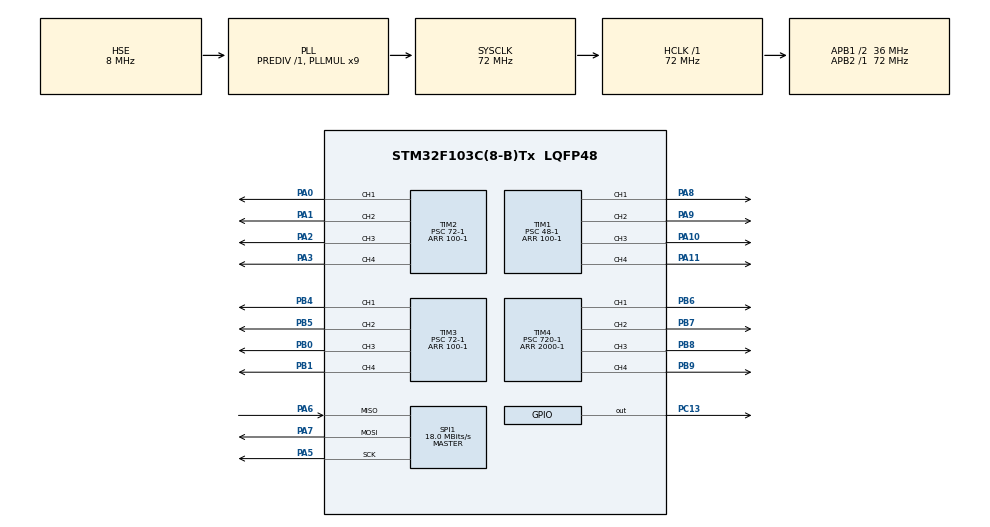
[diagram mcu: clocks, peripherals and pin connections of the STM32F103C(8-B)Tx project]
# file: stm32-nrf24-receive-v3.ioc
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FREERTOS.Tasks01=defaultTask,24,128,StartDefaultTask,Default,NULL,Dynamic,NULL,NULL;nrf24Task,8,128,StartNrf24Task,Default,NULL,Dynamic,NULL,NULL
Mcu.Family=STM32F1
Mcu.Name=STM32F103C(8-B)Tx
Mcu.Package=LQFP48
NVIC.PriorityGroup=NVIC_PRIORITYGROUP_4
PA0-WKUP.Signal=S_TIM2_CH1_ETR
PA1.Signal=S_TIM2_CH2
PA10.Signal=S_TIM1_CH3
PA11.Signal=S_TIM1_CH4
PA13.Mode=Serial_Wire
PA13.Signal=SYS_JTMS-SWDIO
PA14.Mode=Serial_Wire
PA14.Signal=SYS_JTCK-SWCLK
PA2.Signal=S_TIM2_CH3
PA3.Signal=S_TIM2_CH4
PA5.Mode=Full_Duplex_Master
PA5.Signal=SPI1_SCK
PA6.Mode=Full_Duplex_Master
PA6.Signal=SPI1_MISO
PA7.Mode=Full_Duplex_Master
PA7.Signal=SPI1_MOSI
PA8.Signal=S_TIM1_CH1
PA9.Signal=S_TIM1_CH2
PB0.Signal=S_TIM3_CH3
PB1.Signal=S_TIM3_CH4
PB4.Signal=S_TIM3_CH1
PB5.Signal=S_TIM3_CH2
PB6.Signal=S_TIM4_CH1
PB7.Signal=S_TIM4_CH2
PB8.Signal=S_TIM4_CH3
PB9.Signal=S_TIM4_CH4
PC13-TAMPER-RTC.Signal=GPIO_Output
PD0-OSC_IN.Mode=HSE-External-Oscillator
PD0-OSC_IN.Signal=RCC_OSC_IN
PD1-OSC_OUT.Mode=HSE-External-Oscillator
PD1-OSC_OUT.Signal=RCC_OSC_OUT
ProjectManager.HeapSize=0x200
ProjectManager.StackSize=0x400
ProjectManager.TargetToolchain=CMake
RCC.AHBFreq_Value=72000000
RCC.APB1CLKDivider=RCC_HCLK_DIV2
RCC.APB1Freq_Value=36000000
RCC.APB1TimFreq_Value=72000000
RCC.APB2Freq_Value=72000000
RCC.APB2TimFreq_Value=72000000
RCC.HCLKFreq_Value=72000000
RCC.PLLMUL=RCC_PLL_MUL9
RCC.PLLSourceVirtual=RCC_PLLSOURCE_HSE
RCC.SYSCLKFreq_VALUE=72000000
RCC.SYSCLKSource=RCC_SYSCLKSOURCE_PLLCLK
RCC.USBFreq_Value=72000000
SH.S_TIM1_CH1.0=TIM1_CH1,PWM Generation1 CH1
SH.S_TIM1_CH2.0=TIM1_CH2,PWM Generation2 CH2
SH.S_TIM1_CH3.0=TIM1_CH3,PWM Generation3 CH3
SH.S_TIM1_CH4.0=TIM1_CH4,PWM Generation4 CH4
SH.S_TIM2_CH1_ETR.0=TIM2_CH1,PWM Generation1 CH1
SH.S_TIM2_CH2.0=TIM2_CH2,PWM Generation2 CH2
SH.S_TIM2_CH3.0=TIM2_CH3,PWM Generation3 CH3
SH.S_TIM2_CH4.0=TIM2_CH4,PWM Generation4 CH4
SH.S_TIM3_CH1.0=TIM3_CH1,PWM Generation1 CH1
SH.S_TIM3_CH2.0=TIM3_CH2,PWM Generation2 CH2
SH.S_TIM3_CH3.0=TIM3_CH3,PWM Generation3 CH3
SH.S_TIM3_CH4.0=TIM3_CH4,PWM Generation4 CH4
SH.S_TIM4_CH1.0=TIM4_CH1,PWM Generation1 CH1
SH.S_TIM4_CH2.0=TIM4_CH2,PWM Generation2 CH2
SH.S_TIM4_CH3.0=TIM4_CH3,PWM Generation3 CH3
SH.S_TIM4_CH4.0=TIM4_CH4,PWM Generation4 CH4
SPI1.BaudRatePrescaler=SPI_BAUDRATEPRESCALER_4
SPI1.CalculateBaudRate=18.0 MBits/s
SPI1.Direction=SPI_DIRECTION_2LINES
SPI1.Mode=SPI_MODE_MASTER
SPI1.VirtualType=VM_MASTER
TIM1.Channel-PWM\ Generation1\ CH1=TIM_CHANNEL_1
TIM1.Channel-PWM\ Generation2\ CH2=TIM_CHANNEL_2
TIM1.Channel-PWM\ Generation3\ CH3=TIM_CHANNEL_3
TIM1.Channel-PWM\ Generation4\ CH4=TIM_CHANNEL_4
TIM1.Period=100-1
TIM1.Prescaler=48-1
TIM2.Channel-PWM\ Generation1\ CH1=TIM_CHANNEL_1
TIM2.Channel-PWM\ Generation2\ CH2=TIM_CHANNEL_2
TIM2.Channel-PWM\ Generation3\ CH3=TIM_CHANNEL_3
TIM2.Channel-PWM\ Generation4\ CH4=TIM_CHANNEL_4
TIM2.Period=100-1
TIM2.Prescaler=72-1
TIM3.Channel-PWM\ Generation1\ CH1=TIM_CHANNEL_1
TIM3.Channel-PWM\ Generation2\ CH2=TIM_CHANNEL_2
TIM3.Channel-PWM\ Generation3\ CH3=TIM_CHANNEL_3
TIM3.Channel-PWM\ Generation4\ CH4=TIM_CHANNEL_4
TIM3.Period=100-1
TIM3.Prescaler=72-1
TIM4.Channel-PWM\ Generation1\ CH1=TIM_CHANNEL_1
TIM4.Channel-PWM\ Generation2\ CH2=TIM_CHANNEL_2
TIM4.Channel-PWM\ Generation3\ CH3=TIM_CHANNEL_3
TIM4.Channel-PWM\ Generation4\ CH4=TIM_CHANNEL_4
TIM4.Period=2000-1
TIM4.Prescaler=720-1
VP_FREERTOS_VS_CMSIS_V2.Mode=CMSIS_V2
board=custom

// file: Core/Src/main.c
/* USER CODE BEGIN Header */
/**
  ******************************************************************************
  * @file           : main.c
  * @brief          : Main program body
  ******************************************************************************
  * @attention
  *
  * Copyright (c) 2025 STMicroelectronics.
  * All rights reserved.
  *
  * This software is licensed under terms that can be found in the LICENSE file
  * in the root directory of this software component.
  * If no LICENSE file comes with this software, it is provided AS-IS.
  *
  ******************************************************************************
  */
/* USER CODE END Header */
#include "main.h"
#include "cmsis_os.h"
#include "spi.h"
#include "tim.h"
#include "gpio.h"

void SystemClock_Config(void);
void MX_FREERTOS_Init(void);

int main(void)
{

  /* MCU Configuration--------------------------------------------------------*/

  /* Reset of all peripherals, Initializes the Flash interface and the Systick. */
    HAL_Init();

  /* USER CODE BEGIN Init */

  /* USER CODE END Init *

  /* Configure the system clock */
  SystemClock_Config();

  /* Initialize all configured peripherals */
  MX_GPIO_Init();
  MX_SPI1_Init();
  MX_TIM1_Init();
  MX_TIM2_Init();
  MX_TIM3_Init();
  MX_TIM4_Init();

  /* Init scheduler */
  osKernelInitialize();

  /* Call init function for freertos objects (in cmsis_os2.c) */
  MX_FREERTOS_Init();

  /* Start scheduler */
  osKernelStart();

  /* We should never get here as control is now taken by the scheduler */

  /* Infinite loop */
  while (1)
  {

  }
}

void SystemClock_Config(void)
{
  RCC_OscInitTypeDef RCC_OscInitStruct = {0};
  RCC_ClkInitTypeDef RCC_ClkInitStruct = {0};

  /** Initializes the RCC Oscillators according to the specified parameters
  * in the RCC_OscInitTypeDef structure.
  */
  RCC_OscInitStruct.OscillatorType = RCC_OSCILLATORTYPE_HSE;
  RCC_OscInitStruct.HSEState = RCC_HSE_ON;
  RCC_OscInitStruct.HSEPredivValue = RCC_HSE_PREDIV_DIV1;
  RCC_OscInitStruct.HSIState = RCC_HSI_ON;
  RCC_OscInitStruct.PLL.PLLState = RCC_PLL_ON;
  RCC_OscInitStruct.PLL.PLLSource = RCC_PLLSOURCE_HSE;
  RCC_OscInitStruct.PLL.PLLMUL = RCC_PLL_MUL9;
  if (HAL_RCC_OscConfig(&RCC_OscInitStruct) != HAL_OK)
  {
    Error_Handler();
  }

  /** Initializes the CPU, AHB and APB buses clocks
  */
  RCC_ClkInitStruct.ClockType = RCC_CLOCKTYPE_HCLK|RCC_CLOCKTYPE_SYSCLK
                              |RCC_CLOCKTYPE_PCLK1|RCC_CLOCKTYPE_PCLK2;
  RCC_ClkInitStruct.SYSCLKSource = RCC_SYSCLKSOURCE_PLLCLK;
  RCC_ClkInitStruct.AHBCLKDivider = RCC_SYSCLK_DIV1;
  RCC_ClkInitStruct.APB1CLKDivider = RCC_HCLK_DIV2;
  RCC_ClkInitStruct.APB2CLKDivider = RCC_HCLK_DIV1;

  if (HAL_RCC_ClockConfig(&RCC_ClkInitStruct, FLASH_LATENCY_2) != HAL_OK)
  {
    Error_Handler();
  }
}

void Error_Handler(void)
{
  __disable_irq();
  while (1)
  {
  }
}

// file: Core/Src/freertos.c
/* USER CODE BEGIN Header */
/**
 ******************************************************************************
 * File Name          : freertos.c
 * Description        : Code for freertos applications
 ******************************************************************************
 * @attention
 *
 * Copyright (c) 2025 STMicroelectronics.
 * All rights reserved.
 *
 * This software is licensed under terms that can be found in the LICENSE file
 * in the root directory of this software component.
 * If no LICENSE file comes with this software, it is provided AS-IS.
 *
 ******************************************************************************
 */
/* USER CODE END Header */

#include "FreeRTOS.h"
#include "cmsis_os.h"
#include "main.h"
#include "task.h"

/* USER CODE BEGIN Includes */

#include "nrf24.h"
#include "spi.h"
#include "stm32f1xx.h"
#include "tim.h"
#include <stdint.h>

/* USER CODE END Includes */

/* USER CODE BEGIN PM */
uint16_t mapVal(uint16_t sourceMin, uint16_t sourceMax, uint16_t targetMin,
                uint16_t targetMax, uint16_t value) {
  uint16_t mappedValue = targetMin + (value - sourceMin) *
                                         (targetMax - targetMin) /
                                         (sourceMax - sourceMin);
  return mappedValue;
}

/* USER CODE END PM */

/* Definitions for defaultTask */
osThreadId_t defaultTaskHandle;
const osThreadAttr_t defaultTask_attributes = {
    .name = "defaultTask",
    .stack_size = 128 * 4,
    .priority = (osPriority_t)osPriorityNormal,
};
/* Definitions for nrf24Task */
osThreadId_t nrf24TaskHandle;
const osThreadAttr_t nrf24Task_attributes = {
    .name = "nrf24Task",
    .stack_size = 128 * 4,
    .priority = (osPriority_t)osPriorityLow,
};

void StartDefaultTask(void *argument);
void StartNrf24Task(void *argument);

void MX_FREERTOS_Init(void); /* (MISRA C 2004 rule 8.1) */

void MX_FREERTOS_Init(void) {
  /* USER CODE BEGIN Init */

  // 电机舵机pwm初始化
  HAL_TIM_PWM_Start(&htim1, TIM_CHANNEL_1);
  HAL_TIM_PWM_Start(&htim1, TIM_CHANNEL_2);
  HAL_TIM_PWM_Start(&htim1, TIM_CHANNEL_3);
  HAL_TIM_PWM_Start(&htim1, TIM_CHANNEL_4);

  HAL_TIM_PWM_Start(&htim2, TIM_CHANNEL_1);
  HAL_TIM_PWM_Start(&htim2, TIM_CHANNEL_2);
  HAL_TIM_PWM_Start(&htim2, TIM_CHANNEL_3);
  HAL_TIM_PWM_Start(&htim2, TIM_CHANNEL_4);

  HAL_TIM_PWM_Start(&htim3, TIM_CHANNEL_1);
  HAL_TIM_PWM_Start(&htim3, TIM_CHANNEL_2);
  HAL_TIM_PWM_Start(&htim3, TIM_CHANNEL_3);
  HAL_TIM_PWM_Start(&htim3, TIM_CHANNEL_4);

  HAL_TIM_PWM_Start(&htim4, TIM_CHANNEL_1);
  HAL_TIM_PWM_Start(&htim4, TIM_CHANNEL_2);
  HAL_TIM_PWM_Start(&htim4, TIM_CHANNEL_3);
  HAL_TIM_PWM_Start(&htim4, TIM_CHANNEL_4);

  /* USER CODE END Init */

  /* Create the thread(s) */
  /* creation of defaultTask */
  defaultTaskHandle =
      osThreadNew(StartDefaultTask, NULL, &defaultTask_attributes);

  /* creation of nrf24Task */
  nrf24TaskHandle = osThreadNew(StartNrf24Task, NULL, &nrf24Task_attributes);

}

void StartDefaultTask(void *argument) {
  /* USER CODE BEGIN StartDefaultTask */
  /* Infinite loop */
  (void)argument;
  // int pwmValue = 0;
  for (;;) {
    osDelay(100);
    // HAL_GPIO_TogglePin(GPIOC, GPIO_PIN_13);
    // __HAL_TIM_SET_COMPARE(&htim1, TIM_CHANNEL_3, 0);
    // __HAL_TIM_SET_COMPARE(&htim1, TIM_CHANNEL_4, pwmValue);
    // pwmValue += 1;
    // if(pwmValue > 100) pwmValue = 0;
  }
  /* USER CODE END StartDefaultTask */
}

void StartNrf24Task(void *argument) {
  /* USER CODE BEGIN StartNrf24Task */
  /* Infinite loop */
  (void)argument;
  // NRF24初始化
  NRF24_Init(&hspi1);
  // 检测NRF24L01是否存在
  if (NRF24_Check() != 1) {
    // 未检测到NRF24L01，可以在这里添加错误处理
    while (1)
      ;
  }
  // 设置为接收模式
  NRF24_SetRxMode(nrf24_addr);
  /**
x轴 舵机值 范围 50-150 对应 90度范围 ； 接收侧pwm分辨率2000
y轴上 范围0-100； 接收侧收到数据x10，因为pwm分辨率是1000
y轴下 范围0-100； 接收侧收到数据x10，因为pwm分辨率是1000
*/
  uint8_t rx_data[10];
  uint8_t rx_len = 0;

  HAL_GPIO_WritePin(GPIOC, GPIO_PIN_13, SET);

  uint8_t carType = 2; // 0-翻斗车 1-装载机 2-挖掘机

  uint32_t linking_timestamp = 0;
  for (;;) {
    rx_len = NRF24_ReceiveData(rx_data, 10);
    if (rx_len > 0) {
      HAL_GPIO_TogglePin(GPIOC, GPIO_PIN_13);

      linking_timestamp = HAL_GetTick(); // 记录接收数据的时间戳
      // 接收到数据，通过串口发送出去

      /**
      翻斗车
      */
      if (carType == 0) {
        // 进退控制
        if (rx_data[1] < 100) {
          __HAL_TIM_SET_COMPARE(&htim1, TIM_CHANNEL_1, 0);
          __HAL_TIM_SET_COMPARE(&htim1, TIM_CHANNEL_2,
                                (100 - rx_data[1])); // x轴舵机控制
        } else if (rx_data[1] > 100) {
          __HAL_TIM_SET_COMPARE(&htim1, TIM_CHANNEL_1, (rx_data[1] - 100));
          __HAL_TIM_SET_COMPARE(&htim1, TIM_CHANNEL_2, 0); // x轴舵机控制
        } else {

          __HAL_TIM_SET_COMPARE(&htim1, TIM_CHANNEL_1, 0);
          __HAL_TIM_SET_COMPARE(&htim1, TIM_CHANNEL_2, 0); // x轴舵机控制
        }

        // 方向舵机
        __HAL_TIM_SET_COMPARE(&htim4, TIM_CHANNEL_1,
                              mapVal(0, 200, 75, 125, rx_data[2]));

        // 翻斗起落
        if (rx_data[6] < 100) {
          __HAL_TIM_SET_COMPARE(&htim1, TIM_CHANNEL_3, 0);
          __HAL_TIM_SET_COMPARE(&htim1, TIM_CHANNEL_4,
                                (100 - rx_data[6])); // y轴舵机控制
        } else if (rx_data[6] > 100) {
          __HAL_TIM_SET_COMPARE(&htim1, TIM_CHANNEL_3, (rx_data[6] - 100));
          __HAL_TIM_SET_COMPARE(&htim1, TIM_CHANNEL_4, 0); // y轴舵机控制
        } else {

          __HAL_TIM_SET_COMPARE(&htim1, TIM_CHANNEL_3, 0);
          __HAL_TIM_SET_COMPARE(&htim1, TIM_CHANNEL_4, 0); // y轴舵机控制
        }
      }

      /*
      装载机
      */
      if (carType == 1) {
        // 进退控制
        if (rx_data[1] < 100) {
          __HAL_TIM_SET_COMPARE(&htim1, TIM_CHANNEL_1, 0);
          __HAL_TIM_SET_COMPARE(&htim1, TIM_CHANNEL_2,
                                (100 - rx_data[1])); // x轴舵机控制
        } else if (rx_data[1] > 100) {
          __HAL_TIM_SET_COMPARE(&htim1, TIM_CHANNEL_1, (rx_data[1] - 100));
          __HAL_TIM_SET_COMPARE(&htim1, TIM_CHANNEL_2, 0); // x轴舵机控制
        } else {

          __HAL_TIM_SET_COMPARE(&htim1, TIM_CHANNEL_1, 0);
          __HAL_TIM_SET_COMPARE(&htim1, TIM_CHANNEL_2, 0); // x轴舵机控制
        }

        // 方向舵机
        __HAL_TIM_SET_COMPARE(&htim4, TIM_CHANNEL_1,
                              200 - mapVal(0, 200, 75, 125, rx_data[2]));

        // 大臂起落
        if (rx_data[4] < 100) {
          __HAL_TIM_SET_COMPARE(&htim1, TIM_CHANNEL_3, 0);
          __HAL_TIM_SET_COMPARE(&htim1, TIM_CHANNEL_4,
                                (100 - rx_data[4])); // y轴舵机控制
        } else if (rx_data[4] > 100) {
          __HAL_TIM_SET_COMPARE(&htim1, TIM_CHANNEL_3, (rx_data[4] - 100));
          __HAL_TIM_SET_COMPARE(&htim1, TIM_CHANNEL_4, 0); // y轴舵机控制
        } else {

          __HAL_TIM_SET_COMPARE(&htim1, TIM_CHANNEL_3, 0);
          __HAL_TIM_SET_COMPARE(&htim1, TIM_CHANNEL_4, 0); // y轴舵机控制
        }
        // 挖斗起落
        if (rx_data[5] < 100) {
          __HAL_TIM_SET_COMPARE(&htim2, TIM_CHANNEL_1, 0);
          __HAL_TIM_SET_COMPARE(&htim2, TIM_CHANNEL_2,
                                (100 - rx_data[5])); // y轴舵机控制
        } else if (rx_data[5] > 100) {
          __HAL_TIM_SET_COMPARE(&htim2, TIM_CHANNEL_1, (rx_data[5] - 100));
          __HAL_TIM_SET_COMPARE(&htim2, TIM_CHANNEL_2, 0); // y轴舵机控制
        } else {

          __HAL_TIM_SET_COMPARE(&htim2, TIM_CHANNEL_1, 0);
          __HAL_TIM_SET_COMPARE(&htim2, TIM_CHANNEL_2, 0); // y轴舵机控制
        }
      }
      /**
      挖掘机
      */
      if (carType == 2) {
        /**
        通道1： 旋转
        通道2： 小臂
        通道3： 挖斗
        通道4： 大臂
        通道5： 左轮
        通道6： 右轮
        */
        if (rx_data[0] < 100) {
          __HAL_TIM_SET_COMPARE(&htim1, TIM_CHANNEL_1, 0);
          __HAL_TIM_SET_COMPARE(&htim1, TIM_CHANNEL_2, (100 - rx_data[0]));
        } else if (rx_data[0] > 100) {
          __HAL_TIM_SET_COMPARE(&htim1, TIM_CHANNEL_1, (rx_data[0] - 100));
          __HAL_TIM_SET_COMPARE(&htim1, TIM_CHANNEL_2, 0);
        } else {

          __HAL_TIM_SET_COMPARE(&htim1, TIM_CHANNEL_1, 0);
          __HAL_TIM_SET_COMPARE(&htim1, TIM_CHANNEL_2, 0);
        }

        if (rx_data[1] < 100) {
          __HAL_TIM_SET_COMPARE(&htim1, TIM_CHANNEL_3, 0);
          __HAL_TIM_SET_COMPARE(&htim1, TIM_CHANNEL_4, (100 - rx_data[1]));
        } else if (rx_data[1] > 100) {
          __HAL_TIM_SET_COMPARE(&htim1, TIM_CHANNEL_3, (rx_data[1] - 100));
          __HAL_TIM_SET_COMPARE(&htim1, TIM_CHANNEL_4, 0);
        } else {

          __HAL_TIM_SET_COMPARE(&htim1, TIM_CHANNEL_3, 0);
          __HAL_TIM_SET_COMPARE(&htim1, TIM_CHANNEL_4, 0);
        }

        if (rx_data[2] < 100) {
          __HAL_TIM_SET_COMPARE(&htim2, TIM_CHANNEL_1, 0);
          __HAL_TIM_SET_COMPARE(&htim2, TIM_CHANNEL_2, (100 - rx_data[2]));
        } else if (rx_data[2] > 100) {
          __HAL_TIM_SET_COMPARE(&htim2, TIM_CHANNEL_1, (rx_data[2] - 100));
          __HAL_TIM_SET_COMPARE(&htim2, TIM_CHANNEL_2, 0);
        } else {

          __HAL_TIM_SET_COMPARE(&htim2, TIM_CHANNEL_1, 0);
          __HAL_TIM_SET_COMPARE(&htim2, TIM_CHANNEL_2, 0);
        }

        if (rx_data[3] < 100) {
          __HAL_TIM_SET_COMPARE(&htim2, TIM_CHANNEL_3, 0);
          __HAL_TIM_SET_COMPARE(&htim2, TIM_CHANNEL_4, (100 - rx_data[3]));
        } else if (rx_data[3] > 100) {
          __HAL_TIM_SET_COMPARE(&htim2, TIM_CHANNEL_3, (rx_data[3] - 100));
          __HAL_TIM_SET_COMPARE(&htim2, TIM_CHANNEL_4, 0);
        } else {
          __HAL_TIM_SET_COMPARE(&htim2, TIM_CHANNEL_3, 0);
          __HAL_TIM_SET_COMPARE(&htim2, TIM_CHANNEL_4, 0);
        }

        if (rx_data[4] < 100) {
          __HAL_TIM_SET_COMPARE(&htim3, TIM_CHANNEL_1, 0);
          __HAL_TIM_SET_COMPARE(&htim3, TIM_CHANNEL_2, (100 - rx_data[4]));
        } else if (rx_data[4] > 100) {
          __HAL_TIM_SET_COMPARE(&htim3, TIM_CHANNEL_1, (rx_data[4] - 100));
          __HAL_TIM_SET_COMPARE(&htim3, TIM_CHANNEL_2, 0);
        } else {

          __HAL_TIM_SET_COMPARE(&htim3, TIM_CHANNEL_1, 0);
          __HAL_TIM_SET_COMPARE(&htim3, TIM_CHANNEL_2, 0);
        }

        if (rx_data[5] < 100) {
          __HAL_TIM_SET_COMPARE(&htim3, TIM_CHANNEL_3, 0);
          __HAL_TIM_SET_COMPARE(&htim3, TIM_CHANNEL_4, (100 - rx_data[5]));
        } else if (rx_data[5] > 100) {
          __HAL_TIM_SET_COMPARE(&htim3, TIM_CHANNEL_3, (rx_data[5] - 100));
          __HAL_TIM_SET_COMPARE(&htim3, TIM_CHANNEL_4, 0);
        } else {

          __HAL_TIM_SET_COMPARE(&htim3, TIM_CHANNEL_3, 0);
          __HAL_TIM_SET_COMPARE(&htim3, TIM_CHANNEL_4, 0);
        }
      }

      // 清空接收缓冲区
      memset(rx_data, 0, 4);
    } else {
      if (HAL_GetTick() - linking_timestamp > 1000) {
        // 重置舵机
        // 超过1秒没有接收到数据，关闭LED指示灯
        // 重置电机
      }
    }
    osDelay(1);
  }
  /* USER CODE END StartNrf24Task */
}
